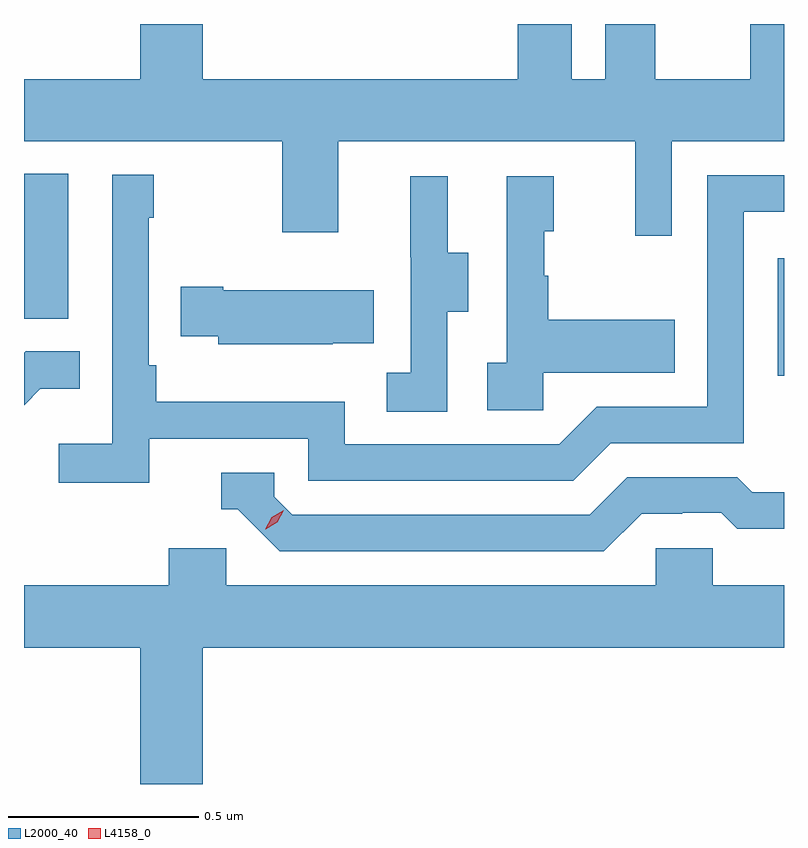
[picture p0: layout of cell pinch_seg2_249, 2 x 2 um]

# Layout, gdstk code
import gdstk
lib = gdstk.Library(unit=1e-6, precision=1e-09)
def R(c, l, rs):  # rectangles x0, y0, x1, y1
    for r in rs: c.add(gdstk.rectangle(r[:2], r[2:], *l))
def P(c, l, *ps):  # polygons
    for p in ps: c.add(gdstk.Polygon(p, *l))
L2000_40 = (2000, 40)
L4158_0 = (4158, 0)

pinch_seg2_249 = lib.new_cell('pinch_seg2_249')
R(pinch_seg2_249, L2000_40, [(945.906,648.351,945.922,648.66), (943.922,648.501,944.038,648.883)])
P(pinch_seg2_249, L2000_40, [(945.452,649.277),(945.452,649.132),(945.364,649.132),(945.364,649.277),(945.221,649.277),(945.221,649.132),(944.392,649.132),(944.392,649.277),(944.228,649.277),(944.228,649.132),(943.922,649.132),(943.922,648.968),(944.602,648.968),(944.602,648.729),(944.749,648.729),(944.749,648.968),(945.53,648.968),(945.53,648.72),(945.627,648.72),(945.627,648.968),(945.922,648.968),(945.922,649.277),(945.833,649.277),(945.833,649.132),(945.583,649.132),(945.583,649.277)],
  [(944.252,648.186),(944.67,648.186),(944.67,648.075),(945.367,648.075),(945.466,648.174),(945.816,648.174),(945.816,648.783),(945.922,648.783),(945.922,648.879),(945.72,648.879),(945.72,648.27),(945.429,648.27),(945.33,648.171),(944.766,648.171),(944.766,648.283),(944.27,648.283),(944.27,648.379),(944.25,648.379),(944.25,648.767),(944.263,648.767),(944.263,648.88),(944.154,648.88),(944.154,648.172),(944.013,648.172),(944.013,648.07),(944.252,648.07)],
  [(945.288,648.359),(945.635,648.359),(945.635,648.499),(945.301,648.499),(945.301,648.614),(945.291,648.614),(945.291,648.732),(945.316,648.732),(945.316,648.877),(945.192,648.877),(945.192,648.386),(945.141,648.386),(945.141,648.261),(945.288,648.261)],
  [(945.036,648.52),(945.091,648.52),(945.091,648.675),(945.037,648.675),(945.037,648.877),(944.939,648.877),(944.939,648.663),(944.94,648.663),(944.94,648.359),(944.877,648.359),(944.877,648.256),(945.036,648.256)],
  [(944.735,648.437),(944.843,648.437),(944.843,648.577),(944.446,648.577),(944.446,648.585),(944.335,648.585),(944.335,648.455),(944.433,648.455),(944.433,648.434),(944.735,648.434)],
  [(943.965,648.317),(944.069,648.317),(944.069,648.416),(943.926,648.416),(943.922,648.412),(943.922,648.274)],
  [(945.547,647.988),(945.654,647.988),(945.654,647.991),(945.757,647.991),(945.799,647.949),(945.922,647.949),(945.922,648.045),(945.838,648.045),(945.799,648.084),(945.51,648.084),(945.411,647.985),(944.628,647.985),(944.58,648.033),(944.58,648.096),(944.441,648.096),(944.441,648),(944.484,648),(944.595,647.889),(945.448,647.889)],
  [(944.392,647.636),(945.922,647.636),(945.922,647.8),(945.735,647.8),(945.735,647.898),(945.585,647.898),(945.585,647.8),(944.454,647.8),(944.454,647.898),(944.303,647.898),(944.303,647.8),(943.922,647.8),(943.922,647.636),(944.228,647.636),(944.228,647.277),(944.392,647.277)])
P(pinch_seg2_249, L4158_0, [(944.557,647.947),(944.557,647.947),(944.574,647.979),(944.605,647.998),(944.605,647.998),(944.605,647.998),(944.588,647.966),(944.558,647.947)])

lib.write_gds('pinch_seg2_249.gds')
